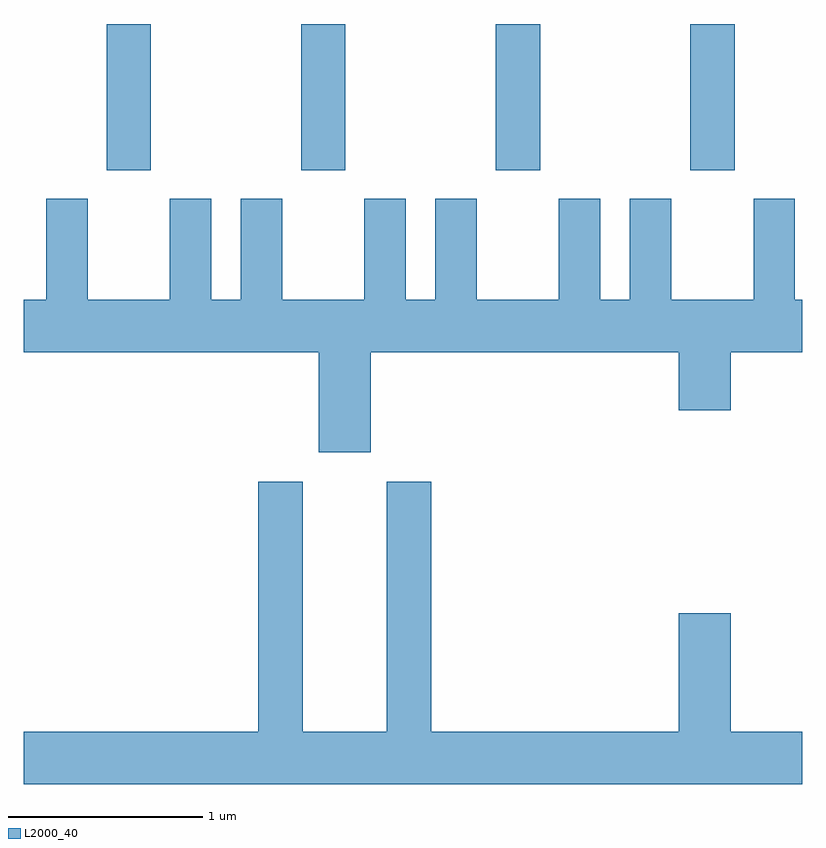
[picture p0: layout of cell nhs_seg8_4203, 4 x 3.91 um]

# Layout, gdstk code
import gdstk
lib = gdstk.Library(unit=1e-6, precision=1e-09)
def R(c, l, rs):  # rectangles x0, y0, x1, y1
    for r in rs: c.add(gdstk.rectangle(r[:2], r[2:], *l))
def A(c, l, x, y, w, h, nx, ny, dx, dy):  # array of equal rectangles
    R(c, l, [(x+i*dx, y+j*dy, x+i*dx+w, y+j*dy+h) for i in range(nx) for j in range(ny)])
def P(c, l, *ps):  # polygons
    for p in ps: c.add(gdstk.Polygon(p, *l))
L2000_40 = (2000, 40)

nhs_seg8_4203 = lib.new_cell('nhs_seg8_4203')
A(nhs_seg8_4203, L2000_40, 312.036, 1819.591, 0.228, 0.751, 4, 1, 1, 0)
P(nhs_seg8_4203, L2000_40, [(313.394,1818.656),(314.976,1818.656),(314.976,1818.356),(315.244,1818.356),(315.244,1818.656),(315.611,1818.656),(315.611,1818.924),(315.574,1818.924),(315.574,1819.444),(315.361,1819.444),(315.361,1818.924),(314.939,1818.924),(314.939,1819.444),(314.726,1819.444),(314.726,1818.924),(314.574,1818.924),(314.574,1819.444),(314.361,1819.444),(314.361,1818.924),(313.939,1818.924),(313.939,1819.444),(313.726,1819.444),(313.726,1818.924),(313.574,1818.924),(313.574,1819.444),(313.361,1819.444),(313.361,1818.924),(312.939,1818.924),(312.939,1819.444),(312.726,1819.444),(312.726,1818.924),(312.574,1818.924),(312.574,1819.444),(312.361,1819.444),(312.361,1818.924),(311.939,1818.924),(311.939,1819.444),(311.726,1819.444),(311.726,1818.924),(311.611,1818.924),(311.611,1818.656),(313.126,1818.656),(313.126,1818.141),(313.394,1818.141)],
  [(315.611,1816.704),(315.244,1816.704),(315.244,1817.314),(314.976,1817.314),(314.976,1816.704),(313.704,1816.704),(313.704,1817.989),(313.476,1817.989),(313.476,1816.704),(313.044,1816.704),(313.044,1817.989),(312.816,1817.989),(312.816,1816.704),(311.611,1816.704),(311.611,1816.436),(315.611,1816.436)])

lib.write_gds('nhs_seg8_4203.gds')
